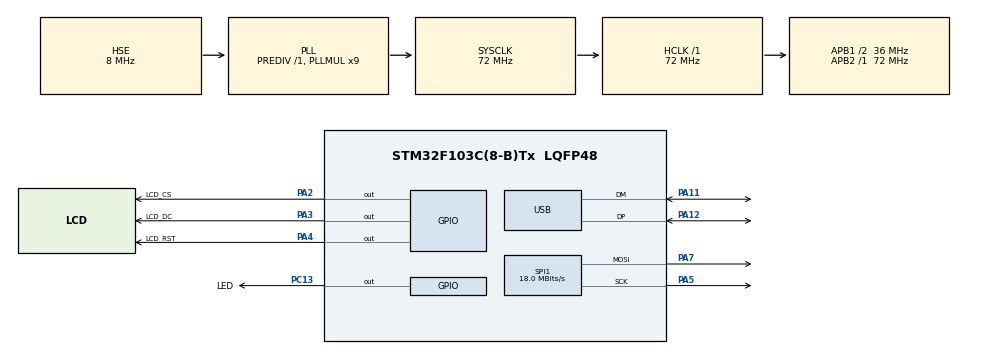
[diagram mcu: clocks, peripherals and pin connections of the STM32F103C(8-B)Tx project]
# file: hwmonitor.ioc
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Mcu.Family=STM32F1
Mcu.Name=STM32F103C(8-B)Tx
Mcu.Package=LQFP48
NVIC.PriorityGroup=NVIC_PRIORITYGROUP_4
NVIC.USB_LP_CAN1_RX0_IRQn=true\:0\:0\:false\:false\:true\:false\:true\:true
PA11.Mode=Device
PA11.Signal=USB_DM
PA12.Mode=Device
PA12.Signal=USB_DP
PA13.Mode=Serial_Wire
PA13.Signal=SYS_JTMS-SWDIO
PA14.Mode=Serial_Wire
PA14.Signal=SYS_JTCK-SWCLK
PA2.GPIO_Label=LCD_CS
PA2.GPIO_Speed=GPIO_SPEED_FREQ_HIGH
PA2.PinState=GPIO_PIN_SET
PA2.Signal=GPIO_Output
PA3.GPIO_Label=LCD_DC
PA3.GPIO_Speed=GPIO_SPEED_FREQ_HIGH
PA3.PinState=GPIO_PIN_SET
PA3.Signal=GPIO_Output
PA4.GPIO_Label=LCD_RST
PA4.GPIO_Speed=GPIO_SPEED_FREQ_HIGH
PA4.PinState=GPIO_PIN_SET
PA4.Signal=GPIO_Output
PA5.Mode=TX_Only_Simplex_Unidirect_Master
PA5.Signal=SPI1_SCK
PA7.Mode=TX_Only_Simplex_Unidirect_Master
PA7.Signal=SPI1_MOSI
PC13-TAMPER-RTC.GPIO_Label=LED
PC13-TAMPER-RTC.PinState=GPIO_PIN_SET
PC13-TAMPER-RTC.Signal=GPIO_Output
PD0-OSC_IN.Mode=HSE-External-Oscillator
PD0-OSC_IN.Signal=RCC_OSC_IN
PD1-OSC_OUT.Mode=HSE-External-Oscillator
PD1-OSC_OUT.Signal=RCC_OSC_OUT
ProjectManager.HeapSize=0x200
ProjectManager.StackSize=0x400
ProjectManager.TargetToolchain=STM32CubeIDE
RCC.AHBFreq_Value=72000000
RCC.APB1CLKDivider=RCC_HCLK_DIV2
RCC.APB1Freq_Value=36000000
RCC.APB1TimFreq_Value=72000000
RCC.APB2Freq_Value=72000000
RCC.APB2TimFreq_Value=72000000
RCC.HCLKFreq_Value=72000000
RCC.PLLMUL=RCC_PLL_MUL9
RCC.SYSCLKFreq_VALUE=72000000
RCC.SYSCLKSource=RCC_SYSCLKSOURCE_PLLCLK
RCC.USBFreq_Value=48000000
RCC.USBPrescaler=RCC_USBCLKSOURCE_PLL_DIV1_5
SPI1.BaudRatePrescaler=SPI_BAUDRATEPRESCALER_4
SPI1.CLKPolarity=SPI_POLARITY_HIGH
SPI1.CalculateBaudRate=18.0 MBits/s
SPI1.Direction=SPI_DIRECTION_2LINES
SPI1.Mode=SPI_MODE_MASTER
SPI1.VirtualType=VM_MASTER
USB_DEVICE.APP_RX_DATA_SIZE=128
USB_DEVICE.APP_TX_DATA_SIZE=128
USB_DEVICE.CLASS_NAME_FS=CDC
USB_DEVICE.VirtualMode=Cdc
USB_DEVICE.VirtualModeFS=Cdc_FS
VP_USB_DEVICE_VS_USB_DEVICE_CDC_FS.Mode=CDC_FS
board=custom

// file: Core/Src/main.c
/* USER CODE BEGIN Header */
/**
  ******************************************************************************
  * @file           : main.c
  * @brief          : Main program body
  ******************************************************************************
  * @attention
  *
  * Copyright (c) 2025 STMicroelectronics.
  * All rights reserved.
  *
  * This software is licensed under terms that can be found in the LICENSE file
  * in the root directory of this software component.
  * If no LICENSE file comes with this software, it is provided AS-IS.
  *
  ******************************************************************************
  */
/* USER CODE END Header */
#include "main.h"
#include "usb_device.h"

/* USER CODE BEGIN Includes */
#include "usbd_cdc_if.h"
#include "st7789.h"
#include <math.h>
/* USER CODE END Includes */

SPI_HandleTypeDef hspi1;

/* USER CODE BEGIN PV */
char rxbuff[64];
char received[64];
uint8_t rxp = 0;

uint8_t delay = 100;

char cputxt[15];
uint16_t cpu_txt_color = WHITE;
char memtxt[15];
uint16_t mem_txt_color = WHITE;
char gpu1txt[15];
uint16_t gpu1_txt_color = WHITE;
char gpu2txt[15];
uint16_t gpu2_txt_color = WHITE;

uint8_t cpu_hist[150];
uint16_t cpu_hist_color = GREEN;
uint8_t mem_hist[150];
uint16_t mem_hist_color = BLUE;
uint8_t gpu1_hist[150];
uint16_t gpu1_hist_color = MAGENTA;
uint8_t gpu2_hist[150];
uint16_t gpu2_hist_color = MAGENTA;

/* USER CODE END PV */

void SystemClock_Config(void);
static void MX_GPIO_Init(void);
static void MX_SPI1_Init(void);
/* USER CODE BEGIN PFP */

int startswith(char* cmd, uint8_t cmdlen, const char* start, uint8_t startlen) {
	int result = 1;
	for(int i=0; i<cmdlen && i<startlen; i++) {
		if(cmd[i] != start[i]) {
			result = 0;
			break;
		}
	}
	return result;
}

void copyfrom(uint8_t cmdpos, char *cmd, uint8_t cmdlen, char *target, uint8_t targetlen) {
	for(int i=0; i<targetlen && i + cmdpos < cmdlen; i++) {
		if(cmd[cmdpos+i] == 0x0A || cmd[cmdpos+i] == 0x0D) {//endline
			break;
		}
		target[i] = cmd[cmdpos+i];
	}
}

uint8_t readnumberfrom(uint8_t cmdpos, char *cmd, uint8_t cmdlen) {
	//Number should be 3 digit length like 001 or 255
	uint8_t res = 0;
	uint8_t p = 3;
	for(int i=0; i+cmdpos < cmdlen && p > 0; i++) {
		if(cmd[cmdpos+i] == 0x0A || cmd[cmdpos+i] == 0x0D) {//endline
			break;
		}
		if(cmd[cmdpos+i] >= '0' && cmd[cmdpos+i] <= '9') {
			uint8_t number = cmd[cmdpos+i] - '0';
			uint8_t mult = pow(10, p-1);
			res = res + number * mult;
			p--;
		}
	}
	return res;
}

void process_cmd(char* cmd, uint8_t cmdlen) {
	if(startswith(cmd, cmdlen, "CPU:", 4)) {
		cpu_hist[0] = readnumberfrom(4, cmd, cmdlen);
	} else if(startswith(cmd, cmdlen, "MEM:", 4)) {
		mem_hist[0] = readnumberfrom(4, cmd, cmdlen);
	} else if(startswith(cmd, cmdlen, "GPU1:", 5)) {
		gpu1_hist[0] = readnumberfrom(5, cmd, cmdlen);
	} else if(startswith(cmd, cmdlen, "GPU2:", 5)) {
		gpu2_hist[0] = readnumberfrom(5, cmd, cmdlen);
	} else if(startswith(cmd, cmdlen, "GPU1TXT:", 8)) {
		copyfrom(8, cmd, cmdlen, gpu1txt, 14);
	} else if(startswith(cmd, cmdlen, "CPUTXT:", 7)) {
		copyfrom(7, cmd, cmdlen, cputxt, 14);
	} else if(startswith(cmd, cmdlen, "MEMTXT:", 7)) {
		copyfrom(7, cmd, cmdlen, memtxt, 14);
	} else if(startswith(cmd, cmdlen, "GPU2TXT:", 8)) {
		copyfrom(8, cmd, cmdlen, gpu2txt, 14);
	} else if(startswith(cmd, cmdlen, "DELAY:", 6)) {
		delay = readnumberfrom(6, cmd, cmdlen);
	} else if(startswith(cmd, cmdlen, "CPUCOL:", 7)) {
		uint16_t r = readnumberfrom(7, cmd, cmdlen);
		uint16_t g = readnumberfrom(10, cmd, cmdlen);
		uint16_t b = readnumberfrom(13, cmd, cmdlen);
		cpu_hist_color =  RGB565(r,g,b);
	} else if(startswith(cmd, cmdlen, "MEMCOL:", 7)) {
		uint16_t r = readnumberfrom(7, cmd, cmdlen);
		uint16_t g = readnumberfrom(10, cmd, cmdlen);
		uint16_t b = readnumberfrom(13, cmd, cmdlen);
		mem_hist_color =  RGB565(r,g,b);
	} else if(startswith(cmd, cmdlen, "GPU1COL:", 8)) {
		uint16_t r = readnumberfrom(8, cmd, cmdlen);
		uint16_t g = readnumberfrom(11, cmd, cmdlen);
		uint16_t b = readnumberfrom(14, cmd, cmdlen);
		gpu1_hist_color =  RGB565(r,g,b);
	} else if(startswith(cmd, cmdlen, "GPU2COL:", 8)) {
		uint16_t r = readnumberfrom(8, cmd, cmdlen);
		uint16_t g = readnumberfrom(11, cmd, cmdlen);
		uint16_t b = readnumberfrom(14, cmd, cmdlen);
		gpu2_hist_color =  RGB565(r,g,b);
	}

}

void USB_Received(uint8_t* pbuf, uint32_t *len) {
	for(int i=0; i<*len; i++) {
		rxbuff[rxp++] = pbuf[i];
		if(pbuf[i] == '\n') {
			rxbuff[rxp++] = 0;
			memcpy(received, rxbuff, rxp);
			rxp = 0;
			process_cmd(received, strlen(received));
			CDC_Transmit_FS((uint8_t*)received, strlen(received));
		}
	}
}

void updategraph() {
	for(int i=149; i>=1; i--) {
		cpu_hist[i] = cpu_hist[i-1];
		mem_hist[i] = mem_hist[i-1];
		gpu1_hist[i] = gpu1_hist[i-1];
		gpu2_hist[i] = gpu2_hist[i-1];
	}
}

void drawall() {
	ST77xx_WriteFastString(0, 0, cputxt, Font_11x18, cpu_txt_color, BLACK);
	ST77xx_WriteFastString(160, 0, memtxt, Font_11x18, mem_txt_color, BLACK);
	ST77xx_WriteFastString(0, 122, gpu1txt, Font_11x18, gpu1_txt_color, BLACK);
	ST77xx_WriteFastString(160, 122, gpu2txt, Font_11x18, gpu2_txt_color, BLACK); //Font_16x26

	for(int i=0; i<150; i++) {
		ST77xx_FillRect(149-i, 19, 1, 100-cpu_hist[i], BLACK);
		ST77xx_FillRect(149-i, 119-cpu_hist[i], 1, cpu_hist[i] == 0 ? 1 : cpu_hist[i], cpu_hist_color);

		ST77xx_FillRect(319-i, 19, 1, 100-mem_hist[i], BLACK);
		ST77xx_FillRect(319-i, 119-mem_hist[i], 1, mem_hist[i] == 0 ? 1 : mem_hist[i], mem_hist_color);

		ST77xx_FillRect(149-i, 139, 1, 100-gpu1_hist[i], BLACK);
		ST77xx_FillRect(149-i, 239-gpu1_hist[i], 1, gpu1_hist[i] == 0 ? 1 : gpu1_hist[i], gpu1_hist_color);

		ST77xx_FillRect(319-i, 139, 1, 100-gpu2_hist[i], BLACK);
		ST77xx_FillRect(319-i, 239-gpu2_hist[i], 1, gpu2_hist[i] == 0 ? 1 : gpu2_hist[i], gpu2_hist_color);
	}
}

/* USER CODE END PFP */

int main(void)
{

  /* MCU Configuration--------------------------------------------------------*/

  /* Reset of all peripherals, Initializes the Flash interface and the Systick. */
  HAL_Init();

  /* Configure the system clock */
  SystemClock_Config();

  /* Initialize all configured peripherals */
  MX_GPIO_Init();
  MX_USB_DEVICE_Init();
  MX_SPI1_Init();

  /* Infinite loop */
  /* USER CODE BEGIN WHILE */

  strcpy(cputxt,  "CPU           ");
  strcpy(memtxt,  "MEM           ");
  strcpy(gpu1txt, "GPU1          ");
  strcpy(gpu2txt, "GPU2          ");

  ST7789_Init(320, 240);

  while (1)
  {
    /* USER CODE END WHILE */

    /* USER CODE BEGIN 3 */
	  //HAL_GPIO_WritePin(LED_GPIO_Port, LED_Pin, GPIO_PIN_RESET);
	  drawall();
	  //HAL_GPIO_WritePin(LED_GPIO_Port, LED_Pin, GPIO_PIN_SET);
	  HAL_Delay(delay);
	  updategraph();
  }
  /* USER CODE END 3 */
}

void SystemClock_Config(void)
{
  RCC_OscInitTypeDef RCC_OscInitStruct = {0};
  RCC_ClkInitTypeDef RCC_ClkInitStruct = {0};
  RCC_PeriphCLKInitTypeDef PeriphClkInit = {0};

  /** Initializes the RCC Oscillators according to the specified parameters
  * in the RCC_OscInitTypeDef structure.
  */
  RCC_OscInitStruct.OscillatorType = RCC_OSCILLATORTYPE_HSE;
  RCC_OscInitStruct.HSEState = RCC_HSE_ON;
  RCC_OscInitStruct.HSEPredivValue = RCC_HSE_PREDIV_DIV1;
  RCC_OscInitStruct.HSIState = RCC_HSI_ON;
  RCC_OscInitStruct.PLL.PLLState = RCC_PLL_ON;
  RCC_OscInitStruct.PLL.PLLSource = RCC_PLLSOURCE_HSE;
  RCC_OscInitStruct.PLL.PLLMUL = RCC_PLL_MUL9;
  if (HAL_RCC_OscConfig(&RCC_OscInitStruct) != HAL_OK)
  {
    Error_Handler();
  }

  /** Initializes the CPU, AHB and APB buses clocks
  */
  RCC_ClkInitStruct.ClockType = RCC_CLOCKTYPE_HCLK|RCC_CLOCKTYPE_SYSCLK
                              |RCC_CLOCKTYPE_PCLK1|RCC_CLOCKTYPE_PCLK2;
  RCC_ClkInitStruct.SYSCLKSource = RCC_SYSCLKSOURCE_PLLCLK;
  RCC_ClkInitStruct.AHBCLKDivider = RCC_SYSCLK_DIV1;
  RCC_ClkInitStruct.APB1CLKDivider = RCC_HCLK_DIV2;
  RCC_ClkInitStruct.APB2CLKDivider = RCC_HCLK_DIV1;

  if (HAL_RCC_ClockConfig(&RCC_ClkInitStruct, FLASH_LATENCY_2) != HAL_OK)
  {
    Error_Handler();
  }
  PeriphClkInit.PeriphClockSelection = RCC_PERIPHCLK_USB;
  PeriphClkInit.UsbClockSelection = RCC_USBCLKSOURCE_PLL_DIV1_5;
  if (HAL_RCCEx_PeriphCLKConfig(&PeriphClkInit) != HAL_OK)
  {
    Error_Handler();
  }
}

static void MX_SPI1_Init(void)
{

  /* SPI1 parameter configuration*/
  hspi1.Instance = SPI1;
  hspi1.Init.Mode = SPI_MODE_MASTER;
  hspi1.Init.Direction = SPI_DIRECTION_2LINES;
  hspi1.Init.DataSize = SPI_DATASIZE_8BIT;
  hspi1.Init.CLKPolarity = SPI_POLARITY_HIGH;
  hspi1.Init.CLKPhase = SPI_PHASE_1EDGE;
  hspi1.Init.NSS = SPI_NSS_SOFT;
  hspi1.Init.BaudRatePrescaler = SPI_BAUDRATEPRESCALER_4;
  hspi1.Init.FirstBit = SPI_FIRSTBIT_MSB;
  hspi1.Init.TIMode = SPI_TIMODE_DISABLE;
  hspi1.Init.CRCCalculation = SPI_CRCCALCULATION_DISABLE;
  hspi1.Init.CRCPolynomial = 10;
  if (HAL_SPI_Init(&hspi1) != HAL_OK)
  {
    Error_Handler();
  }

}

static void MX_GPIO_Init(void)
{
  GPIO_InitTypeDef GPIO_InitStruct = {0};

  /* GPIO Ports Clock Enable */
  __HAL_RCC_GPIOC_CLK_ENABLE();
  __HAL_RCC_GPIOD_CLK_ENABLE();
  __HAL_RCC_GPIOA_CLK_ENABLE();

  /*Configure GPIO pin Output Level */
  HAL_GPIO_WritePin(LED_GPIO_Port, LED_Pin, GPIO_PIN_SET);

  /*Configure GPIO pin Output Level */
  HAL_GPIO_WritePin(GPIOA, LCD_CS_Pin|LCD_DC_Pin|LCD_RST_Pin, GPIO_PIN_SET);

  /*Configure GPIO pin : LED_Pin */
  GPIO_InitStruct.Pin = LED_Pin;
  GPIO_InitStruct.Mode = GPIO_MODE_OUTPUT_PP;
  GPIO_InitStruct.Pull = GPIO_NOPULL;
  GPIO_InitStruct.Speed = GPIO_SPEED_FREQ_LOW;
  HAL_GPIO_Init(LED_GPIO_Port, &GPIO_InitStruct);

  /*Configure GPIO pins : LCD_CS_Pin LCD_DC_Pin LCD_RST_Pin */
  GPIO_InitStruct.Pin = LCD_CS_Pin|LCD_DC_Pin|LCD_RST_Pin;
  GPIO_InitStruct.Mode = GPIO_MODE_OUTPUT_PP;
  GPIO_InitStruct.Pull = GPIO_NOPULL;
  GPIO_InitStruct.Speed = GPIO_SPEED_FREQ_HIGH;
  HAL_GPIO_Init(GPIOA, &GPIO_InitStruct);

}

void Error_Handler(void)
{
  __disable_irq();
  while (1)
  {
  }
}
